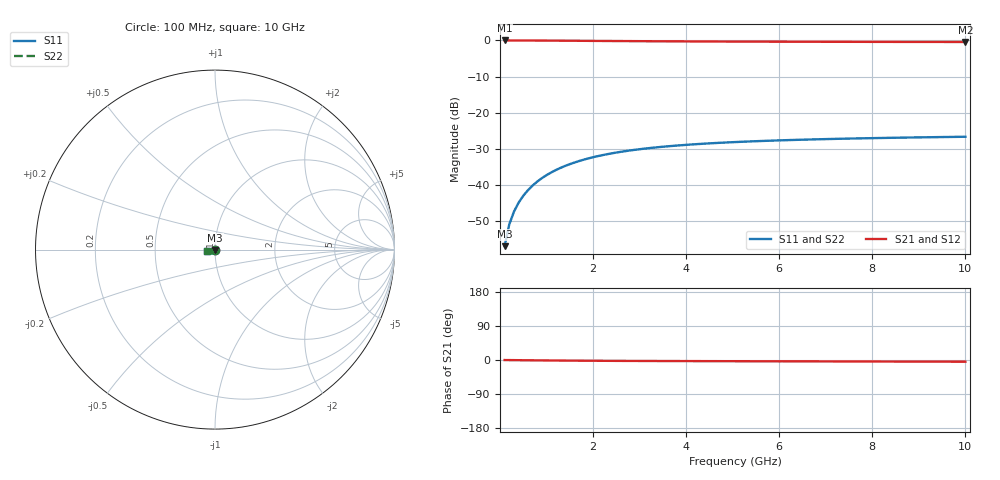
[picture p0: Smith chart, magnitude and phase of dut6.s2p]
! Touchstone file exported from HFSS 2024.1.0
!  File:  C:/UserFiles/LocalFiles/RDL_TSV_Batchsim/temp_TSV1_6_1778746173.aedt
!  Generated:  04:14:34 PM May 14, 2026
!  Design:  TSV1
!  Project:  temp_TSV1_6_1778746173
!  Setup:  Setup1
!  Solution:  Sweep
! Variables:
!  dtsv = 14.04um
!  hbump = 3um
!  htsv = 66.75um
!  lrdl = 252.1521522um
!  p = 40
!  p1 = 56.15um
!  t = 500um
!  trdl = 3um
!  wrdl = 24.89489489um
# GHz S MA R 50.000000
! Terminal data exported
! Port[1] = TSV22_T1
! Port[2] = TSV22_T2
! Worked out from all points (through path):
!   100 points, 100 MHz to 10 GHz, reference 50 ohm
!   highest |S21| = 0.00 dB at 100 MHz (marker M1); lowest = -0.4 dB at 10 GHz (marker M2)
!   lowest |S11| = -56.9 dB at 100 MHz (marker M3), VSWR 1.00, Z = 50 - j0.143 ohm
!   |S11| at or under -10 dB: start of sweep to end of sweep
!   |S22| runs from -56.9 to -26.6 dB; largest |S21 - S12| = 5.2e-15
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0.1  0.00143 -88.9  0.9999 -0.1  0.9999 -0.1  0.00143 -88.9
! Gamma 0 0 0 0
! Port Impedance 50 0 50 0
0.2  0.002858 -92.2  0.9997 -0.3  0.9997 -0.3  0.002858 -92.2
0.3  0.004283 -94.5  0.9995 -0.4  0.9995 -0.4  0.004283 -94.5
0.4  0.005699 -96.7  0.9991 -0.5  0.9991 -0.5  0.005699 -96.7
0.5  0.0071 -98.7  0.9987 -0.6  0.9987 -0.6  0.0071 -98.7
0.6  0.00848 -100.7  0.9982 -0.7  0.9982 -0.7  0.00848 -100.7
0.7  0.009834 -102.7  0.9976 -0.8  0.9976 -0.8  0.009834 -102.7
0.8  0.01116 -104.6  0.9969 -1.0  0.9969 -1.0  0.01116 -104.6
0.9  0.01246 -106.4  0.9962 -1.1  0.9962 -1.1  0.01246 -106.4
1.1  0.01494 -110.0  0.9946 -1.3  0.9946 -1.3  0.01494 -110.0
1.4  0.0184 -115.1  0.992 -1.5  0.992 -1.5  0.0184 -115.1
1.6  0.02051 -118.3  0.9901 -1.7  0.9901 -1.7  0.02051 -118.3
1.8  0.02246 -121.3  0.9882 -1.9  0.9882 -1.9  0.02246 -121.3
2.1  0.02512 -125.5  0.9853 -2.1  0.9853 -2.1  0.02512 -125.5
2.5  0.02817 -130.5  0.9816 -2.3  0.9816 -2.3  0.02817 -130.5
2.9  0.03075 -135.0  0.9782 -2.5  0.9782 -2.5  0.03075 -135.0
3.4  0.03342 -140.0  0.9744 -2.7  0.9744 -2.7  0.03342 -140.0
4.2  0.03673 -146.6  0.9693 -2.9  0.9693 -2.9  0.03673 -146.6
5.1  0.03947 -152.7  0.9648 -3.2  0.9648 -3.2  0.03947 -152.7
6.7  0.04277 -161.2  0.9592 -3.6  0.9592 -3.6  0.04277 -161.2
8.4  0.04505 -168.2  0.9553 -4.1  0.9553 -4.1  0.04505 -168.2
10  0.04659 -173.6  0.9528 -4.5  0.9528 -4.5  0.04659 -173.6
